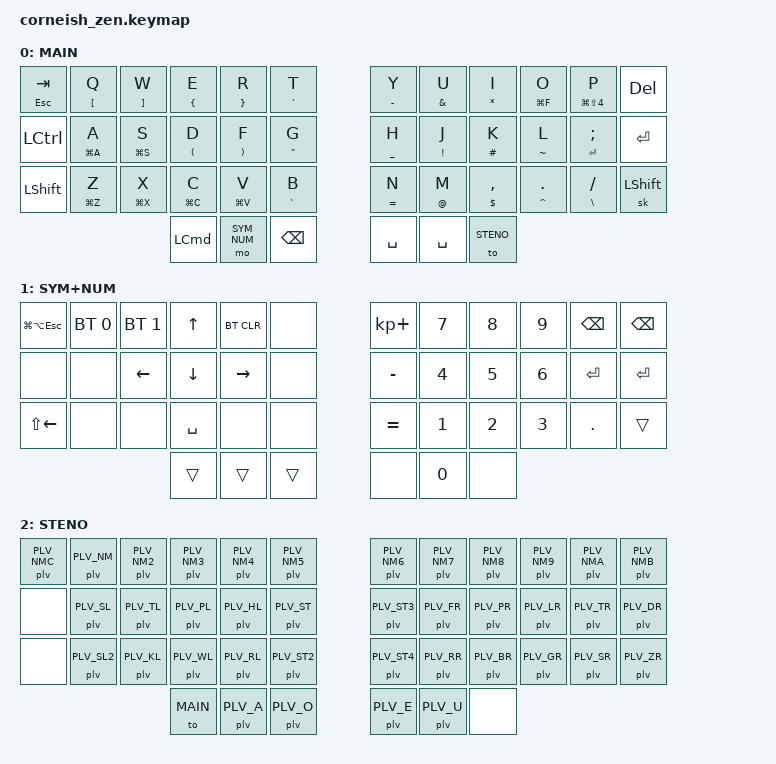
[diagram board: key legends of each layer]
#include <behaviors.dtsi>
#include <dt-bindings/zmk/keys.h>
#include <dt-bindings/zmk/bt.h>
#include <behaviors/plover_hid.dtsi>
#include <dt-bindings/zmk/hid-io/plover_hid.h>

#define MAIN 0
#define SYM_NUM 1
#define STENO 2

/ {
    chosen {
        zmk,physical-layout = &foostan_corne_6col_layout;
    };
};

&sk {
    release-after-ms = <2000>;
    quick-release;
};

/ {
    behaviors {
        ht: hold_tap {
            compatible = "zmk,behavior-hold-tap";
            #binding-cells = <2>;
            flavor = "tap-preferred";
            tapping-term-ms = <200>;
            quick-tap-ms = <125>;
            require-prior-idle-ms = <125>;
            bindings = <&kp>, <&kp>;
        };
    };

    keymap {
        compatible = "zmk,keymap";

        main_layer {
            display-name = "MAIN";
            // ht parameters: hold first, tap second. Editing shortcuts use Command.
            bindings = <
&ht ESC TAB  &ht LBKT Q   &ht RBKT W   &ht LBRC E   &ht RBRC R   &ht SQT T       &ht MINUS Y &ht AMPS U &ht STAR I     &ht LG(F) O   &ht LG(LS(N4)) P &kp DEL
&kp LCTRL    &ht LG(A) A  &ht LG(S) S  &ht LPAR D   &ht RPAR F   &ht DQT G       &ht UNDER H &ht EXCL J &ht HASH K     &ht TILDE L   &ht RET SEMI     &kp RET
&kp LSHIFT   &ht LG(Z) Z  &ht LG(X) X  &ht LG(C) C  &ht LG(V) V  &ht GRAVE B     &ht EQUAL N &ht AT M   &ht DLLR COMMA &ht CARET DOT &ht BSLH FSLH    &sk LSHIFT
                                      &kp LCMD &mo SYM_NUM &kp BSPC          &kp SPACE &kp SPACE &to STENO
            >;
        };

        sym_num_layer {
            display-name = "SYM+NUM";
            // Voyager LED positions Q/W/R retain Zen Bluetooth controls.
            // Profile indices 0/1 correspond to the first/second host slots.
            bindings = <
&kp LG(LA(ESC)) &bt BT_SEL 0 &bt BT_SEL 1 &kp UP    &bt BT_CLR &none           &kp KP_PLUS &kp N7 &kp N8 &kp N9 &kp BSPC &kp BSPC
&none          &none        &kp LEFT    &kp DOWN  &kp RIGHT  &none           &kp MINUS   &kp N4 &kp N5 &kp N6 &kp RET  &kp RET
&kp LS(LEFT)   &none        &none       &kp SPACE &none      &none           &kp EQUAL   &kp N1 &kp N2 &kp N3 &kp DOT  &trans
                                      &trans &trans &trans                 &none &kp N0 &none
            >;
        };

        steno_layer {
            display-name = "STENO";
            // Voyager geometry; distinct Plover HID indices for every steno key.
            bindings = <
&plv PLV_NMC &plv PLV_NM  &plv PLV_NM2 &plv PLV_NM3 &plv PLV_NM4 &plv PLV_NM5    &plv PLV_NM6 &plv PLV_NM7 &plv PLV_NM8 &plv PLV_NM9 &plv PLV_NMA &plv PLV_NMB
&none        &plv PLV_SL  &plv PLV_TL  &plv PLV_PL  &plv PLV_HL  &plv PLV_ST     &plv PLV_ST3 &plv PLV_FR  &plv PLV_PR  &plv PLV_LR  &plv PLV_TR  &plv PLV_DR
&none        &plv PLV_SL2 &plv PLV_KL  &plv PLV_WL  &plv PLV_RL  &plv PLV_ST2    &plv PLV_ST4 &plv PLV_RR  &plv PLV_BR  &plv PLV_GR  &plv PLV_SR  &plv PLV_ZR
                                      &to MAIN &plv PLV_A &plv PLV_O               &plv PLV_E &plv PLV_U &none
            >;
        };
    };
};
